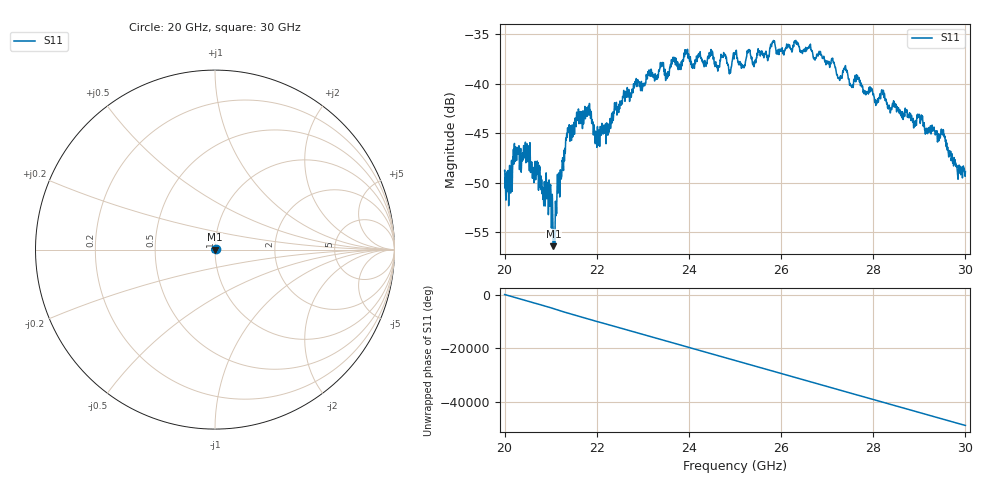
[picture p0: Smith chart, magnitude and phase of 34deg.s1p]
#  HZ  S  RI  R  50.00
! Rohde & Schwarz ZVA40 4Ports - Version 3.90 - 1145.1110k42 SN: 100403
! Date: 2023-10-03 12:50:54
! Measurement: S12
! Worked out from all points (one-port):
!   5001 points, 20 GHz to 30 GHz, reference 50 ohm
!   lowest |S11| = -56.4 dB at 21.06 GHz (marker M1), VSWR 1.00, Z = 49.9 - j0.0731 ohm
!   |S11| at or under -10 dB: start of sweep to end of sweep
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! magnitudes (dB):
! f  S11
! 20 GHz  -48.8
! 20.12 GHz  -49.5
! 20.24 GHz  -46.4
! 20.48 GHz  -47.3
! 20.95 GHz  -53.2
! 21.06 GHz  -56.4
! 21.25 GHz  -47.8
! 21.36 GHz  -45.0
! 21.59 GHz  -43.4
! 21.83 GHz  -43.2
! 22.01 GHz  -44.3
! 22.5 GHz  -42.2
! 23.14 GHz  -38.9
! 23.75 GHz  -38.0
! 24.47 GHz  -36.9
! 24.88 GHz  -38.9
! 25 GHz  -37.1
! 25.17 GHz  -38.2
! 25.82 GHz  -35.9
! 26.25 GHz  -36.5
! 27.12 GHz  -37.4
! 27.27 GHz  -39.7
! 27.4 GHz  -38.2
! 27.5 GHz  -40.0
! 28.75 GHz  -43.1
! 29.51 GHz  -44.9
! 29.83 GHz  -49.1
! 30 GHz  -48.9
